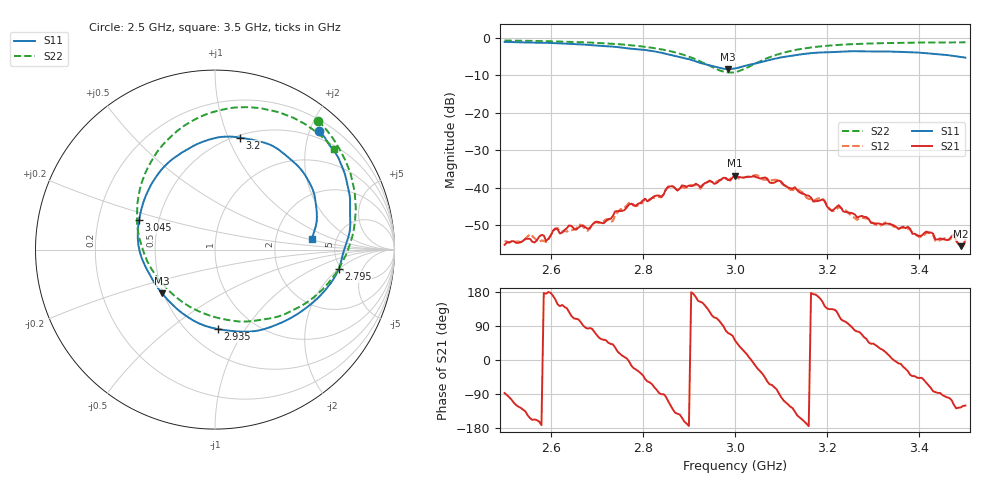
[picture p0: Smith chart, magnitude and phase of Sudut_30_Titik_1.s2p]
# Hz S RI R 50
! CMT, C1220, 16058040, 17.2.0/1
! Date: 15/08/2018 09:45:08
! Data: Format (Calibration Info)
! Freq  S11: Re/Im (F2)  S21: Re/Im (F2)  S12: Re/Im (F2)  S22: Re/Im (F2)
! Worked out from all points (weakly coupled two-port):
!   201 points, 2.5 GHz to 3.5 GHz, reference 50 ohm
!   highest |S21| = -36.80 dB at 3 GHz (marker M1); lowest = -55.6 dB at 3.49 GHz (marker M2)
!   lowest |S11| = -8.3 dB at 2.985 GHz (marker M3), VSWR 2.24, Z = 24.6 - j14.1 ohm
!   |S11| at or under -10 dB: nowhere
!   |S22| runs from -9.3 to -0.7 dB; largest |S21 - S12| = 0.0013
!   S11 on the Smith chart (normalised r, x): 2.5 GHz: 0.37, +2.16; 2.795 GHz: 4.74, -1.99; 2.935 GHz: 0.69, -0.76; 3.045 GHz: 0.39, +0.16; 3.2 GHz: 0.52, +1.10; 3.5 GHz: 3.27, +0.56
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2.5e9  0.5806 0.6609  8.6e-05 -0.00173  0.00015 -0.00193  0.5739 0.7185
2.555e9  0.6438 0.5735  -0.00186 -0.000944  -0.00207 -0.0012  0.6349 0.6497
2.59e9  0.6885 0.5086  -0.00194 0.000181  -0.00189 -3.54e-05  0.6711 0.5975
2.61e9  0.705 0.4693  -0.0027 0.000983  -0.00268 0.000895  0.6915 0.5638
2.67e9  0.7479 0.3158  -9.79e-05 0.00315  0.000116 0.00304  0.7469 0.446
2.73e9  0.7536 0.1342  0.00283 0.0026  0.00273 0.00213  0.7806 0.2927
2.77e9  0.7178 -0.00585  0.00596 -0.000385  0.00625 -0.000568  0.7804 0.1658
2.795e9  0.6892 -0.1079  0.00513 -0.00357  0.00478 -0.00345  0.7659 0.0772
2.835e9  0.587 -0.2556  0.000432 -0.00786  0.00067 -0.00748  0.7042 -0.079
2.855e9  0.5011 -0.3298  -0.00329 -0.00981  -0.00325 -0.00968  0.6511 -0.1614
2.935e9  0.0177 -0.4432  -0.00923 0.00692  -0.00948 0.0066  0.2146 -0.3972
2.985e9  -0.2944 -0.2446  0.00411 0.012  0.00363 0.0122  -0.1794 -0.2939
3e9  -0.3608 -0.1445  0.00897 0.0113  0.00959 0.0109  -0.2788 -0.2055
3.045e9  -0.4232 0.1646  0.0133 -0.00391  0.0142 -0.00398  -0.4342 0.1406
3.105e9  -0.251 0.4929  -0.00309 -0.0107  -0.00334 -0.0104  -0.3252 0.5402
3.17e9  0.0243 0.6264  -0.0065 0.000721  -0.0066 0.000152  -0.0701 0.7452
3.2e9  0.1393 0.6238  -0.00403 0.00388  -0.00391 0.00415  0.0426 0.7801
3.335e9  0.4869 0.4367  0.00323 0.000642  0.00332 0.000462  0.416 0.7425
3.435e9  0.5662 0.2173  0.000186 -0.00204  0.000116 -0.00195  0.5854 0.6375
3.475e9  0.5586 0.1199  -0.00113 -0.00212  -0.000992 -0.00206  0.6353 0.5909
3.49e9  0.5472 0.083  -0.000959 -0.00136  -0.00107 -0.00133  0.6524 0.5719
3.5e9  0.5393 0.06  -0.00101 -0.00173  -0.00113 -0.00152  0.6639 0.5595
